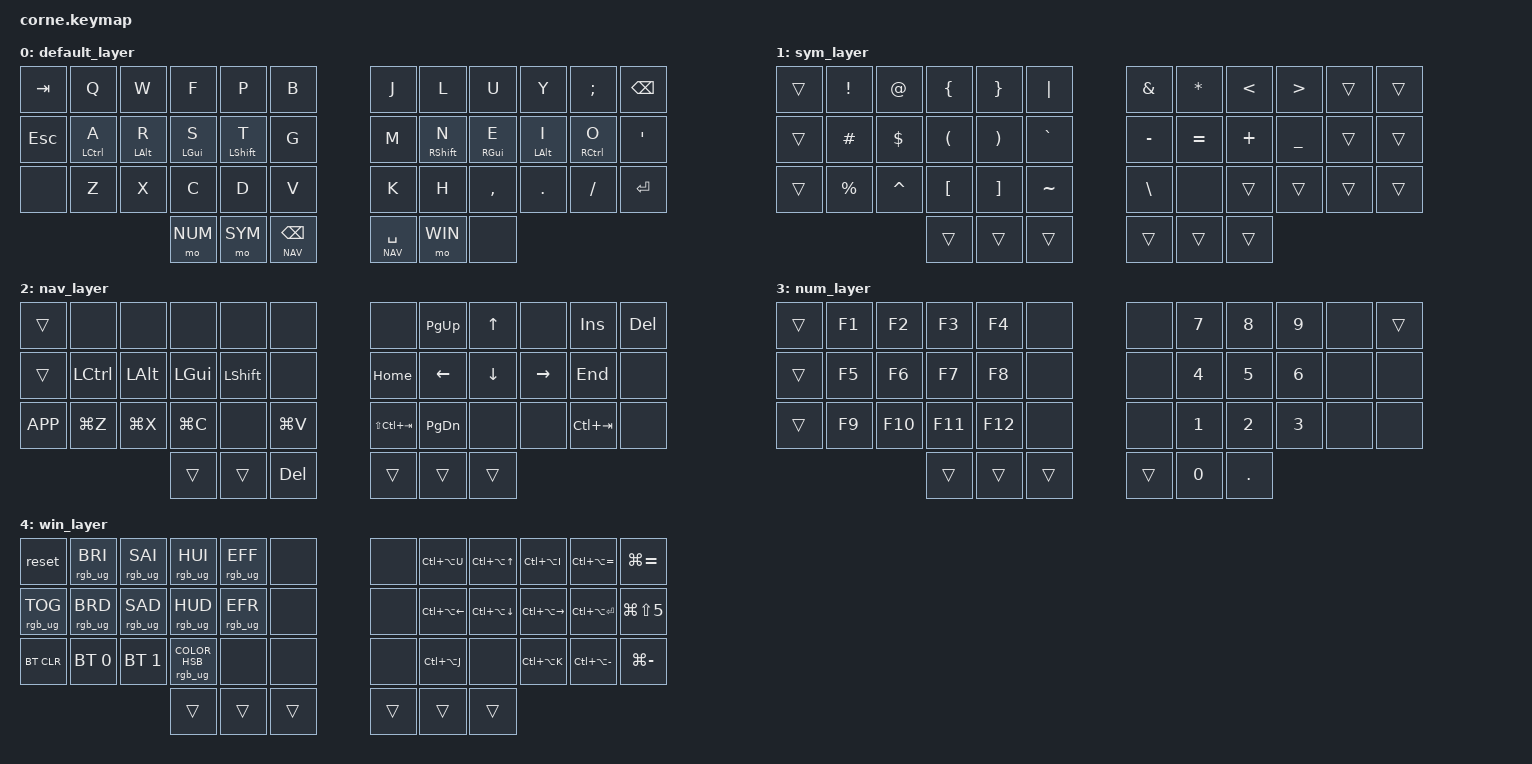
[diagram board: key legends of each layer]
/*
 * Copyright (c) 2020 The ZMK Contributors
 *
 * SPDX-License-Identifier: MIT
 */

#include <behaviors.dtsi>
#include <dt-bindings/zmk/keys.h>
#include <dt-bindings/zmk/bt.h>
#include <dt-bindings/zmk/rgb.h>

#define DEFAULT 0
#define SYM     1
#define NAV     2
#define NUM     3
#define WIN     4

&mt {
    tapping-term-ms = <180>;
};

/ {
        behaviors {
            hm: homerow_mods {
                compatible = "zmk,behavior-hold-tap";
                label = "HOMEROW_MODS";
                #binding-cells = <2>;
                tapping-term-ms = <170>;
                quick_tap_ms = <0>;
                flavor = "tap-preferred";
                bindings = <&kp>, <&kp>;
            };
        };

        combos {
            compatible = "zmk,combos";
            combo_capsword {
                timeout-ms = <50>;
                key-positions = <16 19>;
                bindings = <&caps_word>;
          };
        };

        keymap {
                compatible = "zmk,keymap";

                default_layer {
// -------------------------------------------------------------------------------------
// |  TAB |  Q  |  W  |  F  |  P  |  B  |   |  J  |  L   |  U  |  Y  |  ;  |   BSPC    |
// |  ESC |  A  |  R  |  S  |  T  |  G  |   |  M  |  N   |  E  |  I  |  O  |    '      |
// |      |  Z  |  X  |  C  |  D  |  V  |   |  K  |  H   |  ,  |  .  |  /  |   RET     |
//                    | NUM | SYM | NAV || SPC/NAV |    | WIN
                        bindings = <
   &kp TAB &kp Q &kp W &kp F &kp P &kp B   &kp J &kp L  &kp U     &kp Y   &kp SEMI  &kp BSPC
   &kp ESC &hm LCTRL A &hm LALT R &hm LGUI S &hm LSHFT T &kp G   &kp M &hm RSHFT N  &hm RGUI E &hm LALT I &hm RCTRL O &kp SQT
   &none &kp Z &kp X &kp C &kp D &kp V   &kp K &kp H  &kp COMMA &kp DOT &kp FSLH &kp RET
                        &mo NUM  &mo SYM &lt NAV BSPC &lt NAV SPACE &mo WIN &none
                        >;
                };

                sym_layer {
// ----------------------------------------------------------------------------
// |    |  !  |  @  |  {  |  }  | "|" |   |  &  |  *  |  <  |  >  |     |     |
// |    |  #  |  $  |  (  |  )  |  `  |   |  -  |  =  |  +  |  _  |     |     |
// |    |  %  |  ^  |  [  |  ]  |  ~  |   |  /  |     |     |     |     |     |
//                       |     |     |     |    |     |
                        bindings = <
   &trans &kp EXCL  &kp AT   &kp LBRC &kp RBRC &kp PIPE        &kp AMPS &kp ASTRK &kp LT  &kp GT  &trans     &trans
   &trans &kp HASH  &kp DLLR &kp LPAR &kp RPAR &kp GRAVE       &kp MINUS &kp EQUAL &kp PLUS &kp UNDER &trans &trans
   &trans &kp PRCNT &kp CARET &kp LBKT &kp RBKT &kp TILDE      &kp BSLH &none  &trans &trans &trans &trans
                        &trans       &trans      &trans       &trans         &trans   &trans
                        >;
                };

                nav_layer {
// ----------------------------------------------------------------------------------
// |    |     |     |     |     |     |   |     |     | PGUP | UP |      | INS | DEL |
// |    | CTRL| ALT | GUI | SHFT|     |   |     | HOME| LEFT |DOWN|RIGHT | END |     |
// |MENU| UNDO| CUT |COPY |     | PSTE|   |     | <tab| PGDN |    |      | tab>|     |
//                       |     |     |     |    |     |
                        bindings = <
   &trans &none     &none     &none     &none     &none         &none &kp PG_UP &kp UP &none &kp INS &kp DEL
   &trans &kp LCTRL &kp LALT  &kp LGUI  &kp LSHFT &none         &kp HOME &kp LEFT &kp DOWN &kp RIGHT &kp END &none
   &kp K_APP &kp LG(Z) &kp LG(X) &kp LG(C) &none &kp LG(V)         &kp LS(LC(TAB)) &kp PG_DN &none &none &kp LC(TAB) &none
                        &trans       &trans      &kp DEL       &trans        &trans     &trans
                        >;
                };

                num_layer {
// ----------------------------------------------------------------------------
// |    | F1  | F2  | F3  | F4  |     |   |     |  7  |  8  |  9  |     |     |
// |    | F5  | F6  | F7  | F8  |     |   |     |  4  |  5  |  6  |     |     |
// |    | F9  | F10 | F11 | F12 |     |   |     |  1  |  2  |  3  |     |     |
//                       |     |     |     | 0  |  .  |
                        bindings = <
   &trans &kp F1    &kp F2    &kp F3    &kp F4    &none         &none     &kp N7    &kp N8    &kp N9    &none     &trans
   &trans &kp F5    &kp F6    &kp F7    &kp F8    &none         &none     &kp N4    &kp N5    &kp N6    &none     &none
   &trans &kp F9    &kp F10   &kp F11   &kp F12   &none         &none     &kp N1    &kp N2    &kp N3    &none     &none
                        &trans      &trans      &trans         &trans     &kp N0      &kp DOT
                        >;
                };

                win_layer {
// -----------------------------------------------------------------------------------------------------------------------------
// | RESET    | RGB BRI+ | RGB SAT+ | RGB HUE+ | RGB ANI+ |         |   |         | WIN TL| WIN U | WIN TR  | WIN LG  | ZOOM + |
// | RGB TOG  | RGB BRI- | RGB SAT- | RGB HUE- | RGB ANI+ |         |   |         | WIN L | WIN D | WIN R   | WIN FUL | PSCRN  |
// | BT_CLR   | BT 0     | BT 1     | UG COLOR |          |         |   |         | WIN BL|       | WIN BR  | WIN SM  | ZOOM - |
//                                              |     |     |     |     |     |
                        bindings = <
   &reset &rgb_ug RGB_BRI &rgb_ug RGB_SAI &rgb_ug RGB_HUI &rgb_ug RGB_EFF &none            &none &kp LC(LA(U)) &kp LC(LA(UP)) &kp LC(LA(I)) &kp LC(LA(EQUAL)) &kp LG(EQUAL)
   &rgb_ug RGB_TOG &rgb_ug RGB_BRD &rgb_ug RGB_SAD &rgb_ug RGB_HUD &rgb_ug RGB_EFR &none   &none &kp LC(LA(LEFT)) &kp LC(LA(DOWN)) &kp LC(LA(RIGHT)) &kp LC(LA(RET)) &kp LG(LS(N5))
   &bt BT_CLR &bt BT_SEL 0 &bt BT_SEL 1 &rgb_ug RGB_COLOR_HSB(128,100,100) &none &none     &none &kp LC(LA(J)) &none &kp LC(LA(K)) &kp LC(LA(MINUS)) &kp LG(MINUS)
                        &trans     &trans      &trans       &trans        &trans      &trans
                        >;
                };
        };
};
